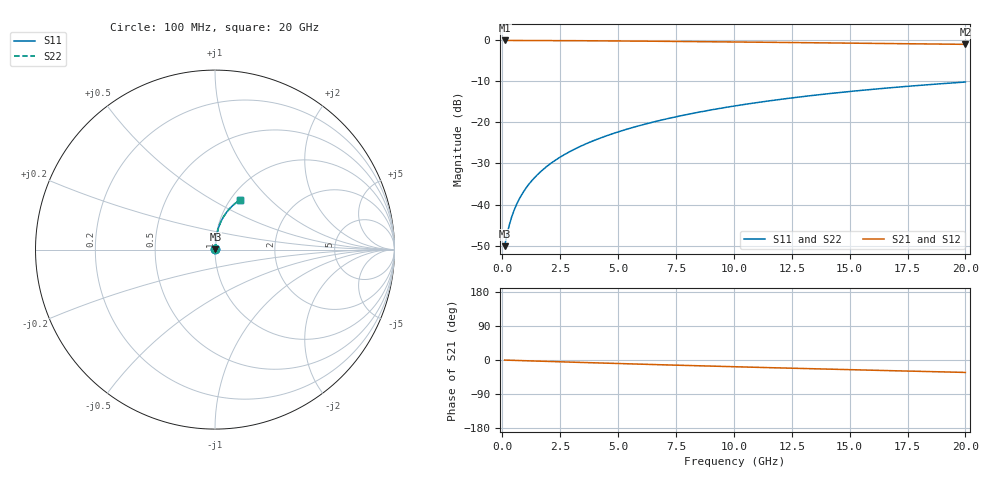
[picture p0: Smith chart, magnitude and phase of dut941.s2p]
! Touchstone file exported from HFSS 2024.1.0
!  File:  C:/UserFiles/LocalFiles/RDL_TSV_Batchsim/temp_RDL_top_941_1779937561.aedt
!  Generated:  11:08:45 AM May 28, 2026
!  Design:  RDL_top
!  Project:  temp_RDL_top_941_1779937561
!  Setup:  Setup1
!  Solution:  Sweep
! Variables:
!  dtsv = 10.80580581um
!  hbump = 3um
!  htsv = 81.61um
!  ldown = 100um
!  lrdl = 465.52um
!  p = 40
!  p1 = 43.22um
!  rhole = 1um
!  t = 450um
!  tdown = 3.915915916um
!  trdl = 3.46um
!  wdown = 15.38538539um
!  wrdl = 19.49um
# GHz S MA R 50.000000
! Terminal data exported
! Port[1] = Box2_T1
! Port[2] = Box2_T2
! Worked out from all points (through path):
!   200 points, 100 MHz to 20 GHz, reference 50 ohm
!   highest |S21| = -0.02 dB at 100 MHz (marker M1); lowest = -1.0 dB at 20 GHz (marker M2)
!   group delay of S21, straight-line fit = 4.53 ps
!   lowest |S11| = -50.1 dB at 100 MHz (marker M3), VSWR 1.01, Z = 50.3 + j0.167 ohm
!   |S11| at or under -10 dB: start of sweep to end of sweep
!   |S22| runs from -50.1 to -10.2 dB; largest |S21 - S12| = 3.6e-15
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0.1  0.00311 32.2  0.9974 -0.2  0.9974 -0.2  0.00311 32.2
! Gamma 0 0 0 0
! Port Impedance 50 0 50 0
0.2  0.004262 50.0  0.9972 -0.4  0.9972 -0.4  0.004262 50.0
0.3  0.005599 59.2  0.9971 -0.6  0.9971 -0.6  0.005599 59.2
0.4  0.00698 64.8  0.9969 -0.8  0.9969 -0.8  0.00698 64.8
0.5  0.008376 68.5  0.9968 -1.0  0.9968 -1.0  0.008376 68.5
0.6  0.009783 71.2  0.9967 -1.2  0.9967 -1.2  0.009783 71.2
0.8  0.01263 75.0  0.9964 -1.5  0.9964 -1.5  0.01263 75.0
1.1  0.01696 78.3  0.996 -2.1  0.996 -2.1  0.01696 78.3
1.3  0.01989 79.8  0.9957 -2.5  0.9957 -2.5  0.01989 79.8
1.6  0.02432 81.2  0.9952 -3.1  0.9952 -3.1  0.02432 81.2
2.1  0.03178 82.7  0.9941 -4.0  0.9941 -4.0  0.03178 82.7
2.7  0.04085 83.5  0.9925 -5.1  0.9925 -5.1  0.04085 83.5
3.5  0.05313 83.9  0.9898 -6.6  0.9898 -6.6  0.05313 83.9
4.2  0.06404 83.9  0.9871 -7.9  0.9871 -7.9  0.06403 83.9
5  0.07668 83.5  0.9836 -9.3  0.9836 -9.3  0.07668 83.5
5.9  0.09112 82.9  0.9792 -10.9  0.9792 -10.9  0.09111 82.9
6.8  0.1057 82.1  0.9745 -12.5  0.9745 -12.5  0.1057 82.1
8.4  0.132 80.3  0.9656 -15.2  0.9656 -15.2  0.132 80.3
10.1  0.1599 78.0  0.9557 -17.9  0.9557 -17.9  0.1599 78.0
13.4  0.2132 73.2  0.9357 -23.1  0.9357 -23.1  0.2132 73.2
16.7  0.2639 68.1  0.9152 -28.0  0.9152 -28.0  0.2638 68.1
20  0.3108 63.2  0.8944 -32.8  0.8944 -32.8  0.3108 63.2
